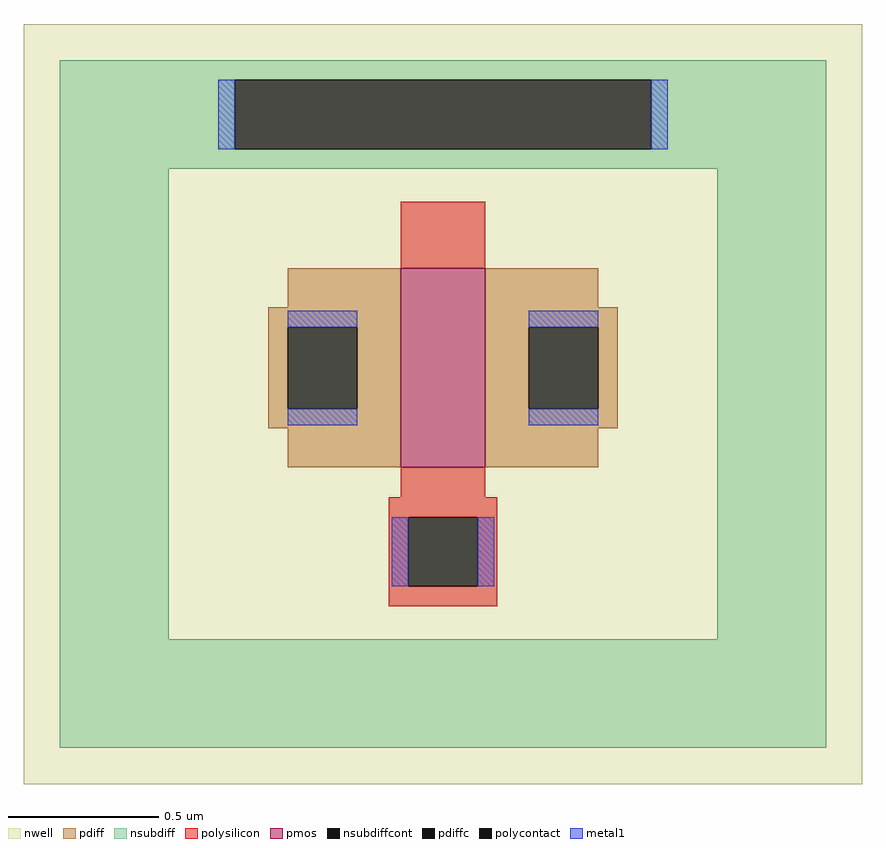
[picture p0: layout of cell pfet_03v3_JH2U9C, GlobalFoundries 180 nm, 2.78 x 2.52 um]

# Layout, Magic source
magic
tech gf180mcuD
magscale 1 10
<< nwell >>
rect -278 -252 278 252
<< pmos >>
rect -28 -42 28 90
<< pdiff >>
rect -103 64 -28 90
rect -116 51 -28 64
rect -116 -3 -103 51
rect -57 -3 -28 51
rect -116 -16 -28 -3
rect -103 -42 -28 -16
rect 28 64 103 90
rect 28 51 116 64
rect 28 -3 57 51
rect 103 -3 116 51
rect 28 -16 116 -3
rect 28 -42 103 -16
<< pdiffc >>
rect -103 -3 -57 51
rect 57 -3 103 51
<< nsubdiff >>
rect -254 215 254 228
rect -254 169 -138 215
rect 138 169 254 215
rect -254 156 254 169
rect -254 -156 -182 156
rect 182 -156 254 156
rect -254 -228 254 -156
<< nsubdiffcont >>
rect -138 169 138 215
<< polysilicon >>
rect -28 90 28 134
rect -28 -62 28 -42
rect -36 -75 36 -62
rect -36 -121 -23 -75
rect 23 -121 36 -75
rect -36 -134 36 -121
<< polycontact >>
rect -23 -121 23 -75
<< metal1 >>
rect -149 169 -138 215
rect 138 169 149 215
rect -103 51 -57 62
rect -103 -14 -57 -3
rect 57 51 103 62
rect 57 -14 103 -3
rect -34 -121 -23 -75
rect 23 -121 34 -75
<< properties >>
string FIXED_BBOX -218 -192 218 192
string gencell pfet_03v3
string library gf180mcu
string parameters w 0.66 l 0.28 m 1 nf 1 diffcov 50 polycov 100 guard 1 glc 0 grc 0 gtc 1 gbc 0 tbcov 100 rlcov 100 topc 0 botc 1 poverlap 0 doverlap 1 lmin 0.28 wmin 0.22 class mosfet full_metal 0 compatible {pfet_03v3 pfet_06v0}
<< end >>
